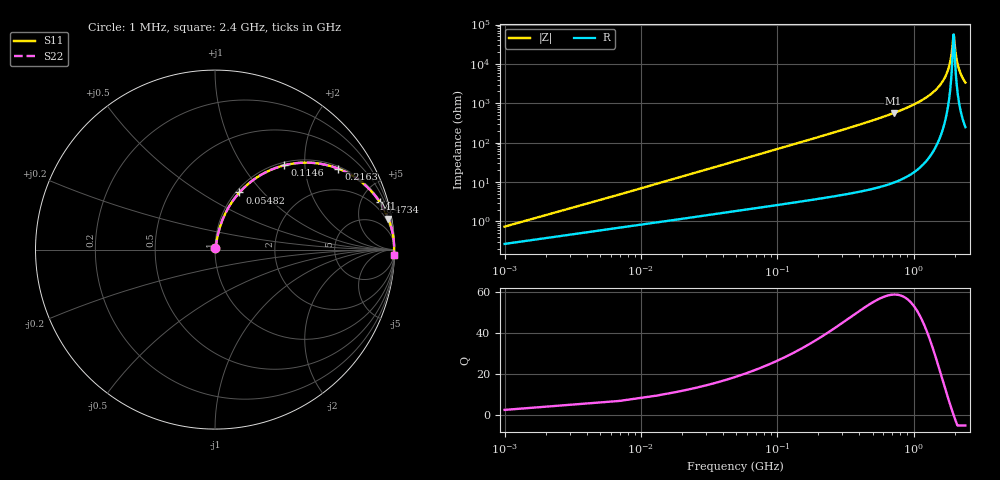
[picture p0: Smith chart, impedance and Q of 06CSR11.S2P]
! Coilcraft 0603CS-R11 Chip Inductor
! 21 May 2002
# MHZ S MA R 50
!Freq  MagS11  AngS11  MagS21  AngS21  MagS12  AngS12  MagS22  AngS22
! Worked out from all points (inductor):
!   403 points, 1 MHz to 2.4 GHz, reference 50 ohm
!   read as one part in series: L = 109 nH near 12.96 MHz
!   highest Q = 58.7 at 712.6 MHz (marker M1), where L = 125 nH
!   self-resonance near 1.962 GHz
!   S11 on the Smith chart (normalised r, x): 1 MHz: 1.01, +0.01; 54.82 MHz: 1.04, +0.75; 114.6 MHz: 1.06, +1.58; 216.3 MHz: 1.08, +3.00; 473.4 MHz: 1.13, +6.88; 2.4 GHz: 6, -67
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1  0.007331 68.3  0.9973 -0.4  0.9973 -0.4  0.007331 68.3
18.94  0.1277 77.7  0.9808 -7.3  0.9808 -7.3  0.1277 77.7
30.9  0.2047 74.3  0.965 -11.8  0.965 -11.8  0.2047 74.3
54.82  0.3464 66.8  0.9206 -20.2  0.9206 -20.2  0.3464 66.8
114.62  0.6087 50.5  0.7723 -37.5  0.7723 -37.5  0.6087 50.5
216.28  0.8222 33.2  0.5482 -55.3  0.5482 -55.3  0.8222 33.2
401.66  0.9386 19.1  0.3269 -69.8  0.3269 -69.8  0.9386 19.1
473.42  0.9556 16.1  0.2776 -72.8  0.2776 -72.8  0.9556 16.1
712.62  0.9816 10.1  0.1747 -79.0  0.1747 -79.0  0.9816 10.1
802.32  0.9862 8.6  0.1496 -80.4  0.1496 -80.4  0.9862 8.6
1202.98  0.9954 4.3  0.07569 -84.3  0.07569 -84.3  0.9954 4.3
1603.64  0.9979 1.7  0.03058 -85.2  0.03058 -85.2  0.9979 1.7
1741.18  0.9982 1.0  0.01827 -83.8  0.01827 -83.8  0.9982 1.0
1836.86  0.9982 0.6  0.01037 -80.0  0.01037 -80.0  0.9982 0.6
1896.66  0.9983 0.3  0.005751 -72.1  0.005751 -72.1  0.9983 0.3
1962.44  0.9982 0.0  0.001828 -13.7  0.001828 -13.7  0.9982 0.0
1980.38  0.9982 -0.1  0.002009 27.0  0.002009 27.0  0.9982 -0.1
2004.3  0.9982 -0.2  0.003241 56.0  0.003241 56.0  0.9982 -0.2
2058.12  0.9981 -0.4  0.006869 74.0  0.006869 74.0  0.9981 -0.4
2135.86  0.998 -0.7  0.01226 80.3  0.01226 80.3  0.998 -0.7
2249.48  0.9978 -1.1  0.01993 83.0  0.01993 83.0  0.9978 -1.1
2400  0.9974 -1.7  0.02961 84.1  0.02961 84.1  0.9974 -1.7
